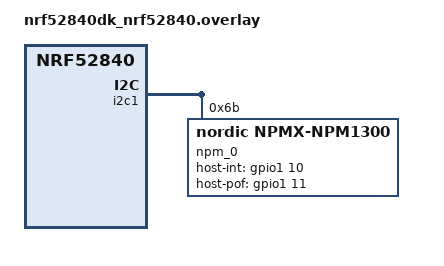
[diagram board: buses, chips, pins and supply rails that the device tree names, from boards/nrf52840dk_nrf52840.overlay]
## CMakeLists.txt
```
#
# Copyright (c) 2023 Nordic Semiconductor ASA
#
# SPDX-License-Identifier: BSD-3-Clause
#

cmake_minimum_required(VERSION 3.20.0)
find_package(Zephyr REQUIRED HINTS $ENV{ZEPHYR_BASE})
project(pmic_shell_example)

FILE(GLOB app_sources src/*.c)
target_sources(app PRIVATE ${app_sources})
```

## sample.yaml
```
#
# Copyright (c) 2023 Nordic Semiconductor ASA
#
# SPDX-License-Identifier: BSD-3-Clause
#

sample:
  description: SHELL sample
  name: SHELL

common:
    tags: pmic
    timeout: 30

tests:
  sample.shell:
    integration_platforms:
      - nrf5340dk/nrf5340/cpuapp
      - nrf52840dk/nrf52840
    platform_allow:
    - nrf5340dk/nrf5340/cpuapp
    - nrf52840dk/nrf52840
    harness: console
    harness_config:
      fixture: nPM130x_setup
      type: multi_line
      ordered: false
      regex:
        -  "PMIC device OK."
```

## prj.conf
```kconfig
#
# Copyright (c) 2023 Nordic Semiconductor ASA
#
# SPDX-License-Identifier: BSD-3-Clause
#

CONFIG_SERIAL=y
CONFIG_CONSOLE=y
CONFIG_UART_CONSOLE=y

CONFIG_I2C=y
CONFIG_I2C_SHELL=y
CONFIG_NPMX=y
CONFIG_NPMX_RESTORE_VALUES=y
CONFIG_LOG=y
CONFIG_NPMX_LOG_LEVEL_DBG=y

# shell configuration
CONFIG_SHELL=y
CONFIG_SHELL_BACKENDS=y
CONFIG_SHELL_BACKEND_SERIAL=y
CONFIG_NPMX_SHELL=y
CONFIG_ASSERT=y

# ADC and GPIO shell modules for testing
CONFIG_ADC=y
CONFIG_ADC_SHELL=y
CONFIG_GPIO_SHELL=y

# Core Dump configuraion
CONFIG_DEBUG_COREDUMP=y
CONFIG_DEBUG_COREDUMP_BACKEND_LOGGING=y

# Required for math library
CONFIG_NEWLIB_LIBC=y
```

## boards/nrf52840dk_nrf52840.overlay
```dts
/*
 * Copyright (c) 2023 Nordic Semiconductor ASA
 *
 * SPDX-License-Identifier: BSD-3-Clause
 */

&i2c1 {
	compatible = "nordic,nrf-twim";
	status = "okay";

	npm_0: npm1300@6b {
		status = "okay";
		compatible = "nordic,npmx-npm1300";
		reg = <0x6b>;
		host-int-gpios = <&gpio1 10 (GPIO_PULL_DOWN | GPIO_ACTIVE_HIGH)>;
		pmic-int-pin = <0>;
		host-pof-gpios = <&gpio1 11 (GPIO_PULL_DOWN | GPIO_ACTIVE_HIGH)>;
		pmic-pof-pin = <1>;

	};
};

&i2c1_default {
	group1 {
		psels = <NRF_PSEL(TWIM_SDA, 0, 26)>, <NRF_PSEL(TWIM_SCL, 0, 27)>;
		bias-pull-up;
	};
};
```

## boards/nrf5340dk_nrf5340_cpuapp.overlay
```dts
/*
 * Copyright (c) 2023 Nordic Semiconductor ASA
 *
 * SPDX-License-Identifier: BSD-3-Clause
 */

&i2c1 {
	compatible = "nordic,nrf-twim";
	status = "okay";

	npm_0: npm1300@6b {
		status = "okay";
		compatible = "nordic,npm1300-eng-b";
		reg = <0x6b>;
		host-int-gpios = <&gpio1 10 (GPIO_PULL_DOWN | GPIO_ACTIVE_HIGH)>;
		pmic-int-pin = <0>;
		host-pof-gpios = <&gpio1 11 (GPIO_PULL_DOWN | GPIO_ACTIVE_HIGH)>;
		pmic-pof-pin = <1>;

	};
};

&i2c1_default {
	group1 {
		bias-pull-up;
	};
};
```

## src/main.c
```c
/*
 * Copyright (c) 2023 Nordic Semiconductor ASA
 *
 * SPDX-License-Identifier: BSD-3-Clause
 */

#include <zephyr/logging/log.h>
#include <zephyr/kernel.h>
#include <npmx_driver.h>

#define LOG_MODULE_NAME shell
LOG_MODULE_REGISTER(LOG_MODULE_NAME);

/**
 * @brief Function called when battery voltage drops below the configured threshold.
 *
 * @param[in] p_pm Pointer to the instance of PMIC device.
 */
static void pof_callback(npmx_instance_t *instance)
{
	LOG_INF("POF callback");
}

int main(void)
{
	const struct device *pmic_dev = DEVICE_DT_GET(DT_NODELABEL(npm_0));

	if (!device_is_ready(pmic_dev)) {
		LOG_ERR("PMIC device is not ready.");
		return 0;
	}

	LOG_INF("PMIC device OK.");

	npmx_instance_t *npmx_instance = npmx_driver_instance_get(pmic_dev);

	npmx_pof_t *pof_instance = npmx_pof_get(npmx_instance, 0);

	npmx_pof_config_t pof_config;
	npmx_error_t err_code = npmx_pof_config_get(pof_instance, &pof_config);
	if (err_code != NPMX_SUCCESS) {
		LOG_ERR("Unable to read POF config.");
		return 0;
	}

	/* Register callback so that POF warnings can be printed. */
	npmx_driver_register_pof_cb(pmic_dev, &pof_config, pof_callback);

	while (1) {
		k_sleep(K_FOREVER);
	}

	return 0;
}
```
